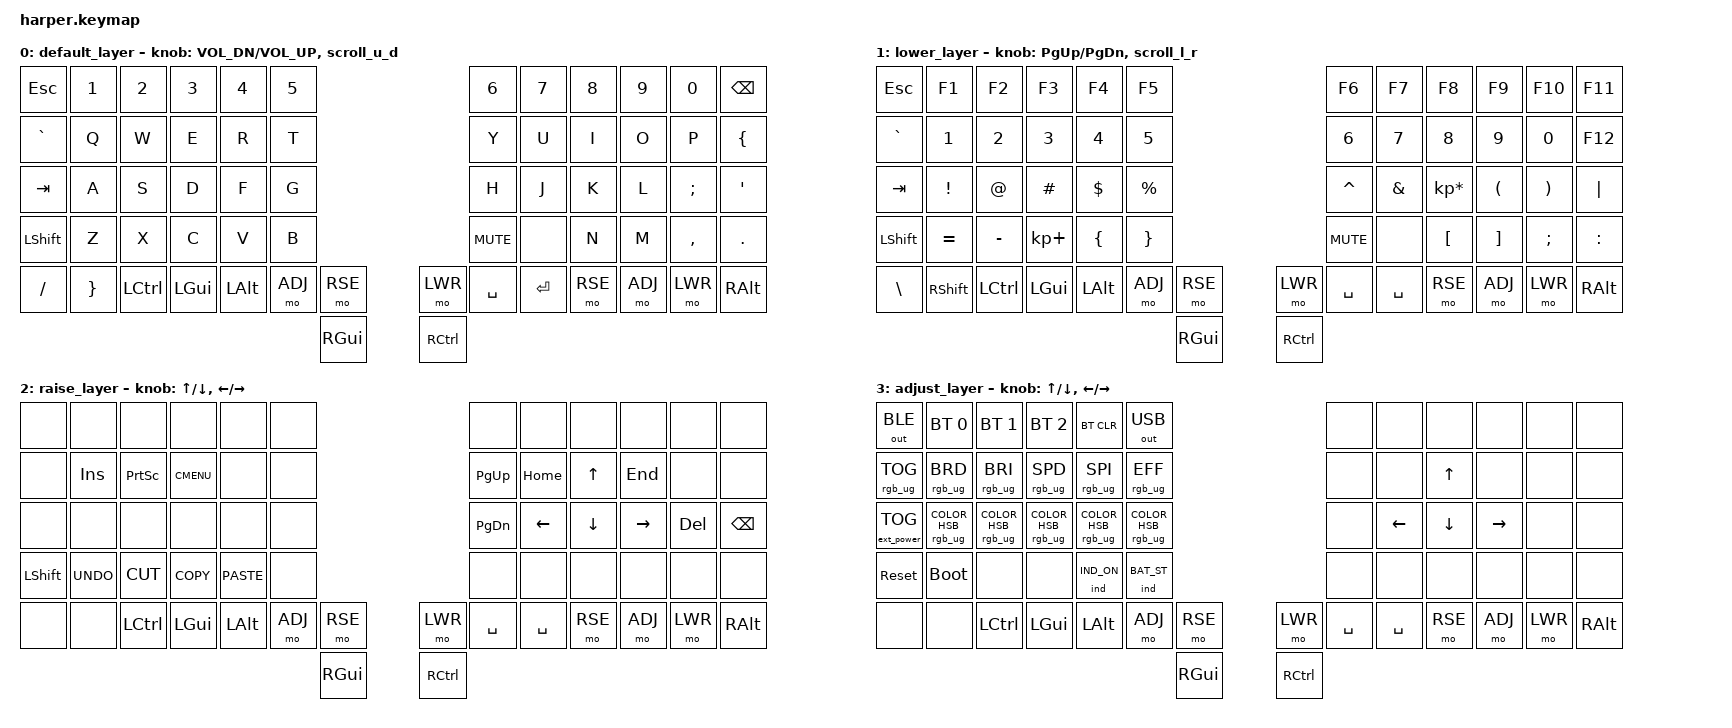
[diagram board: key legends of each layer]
#undef ZMK_BEHAVIORS_KEEP_ALL

#define ZMK_BEHAVIORS_KEEP_IND
#define ZMK_BEHAVIORS_KEEP_BT
#define ZMK_BEHAVIORS_KEEP_GRESC
#define ZMK_BEHAVIORS_KEEP_SYS_RESET
#define ZMK_BEHAVIORS_KEEP_BOOTLOADER
#define ZMK_BEHAVIORS_KEEP_CAPS_WORD
#define ZMK_BEHAVIORS_KEEP_KEY_REPEAT
#define ZMK_BEHAVIORS_KEEP_KT
#define ZMK_BEHAVIORS_KEEP_LT
#define ZMK_BEHAVIORS_KEEP_MT
#define ZMK_BEHAVIORS_KEEP_SK
#define ZMK_BEHAVIORS_KEEP_STICKY_LAYER

#define ZMK_BEHAVIORS_KEEP_TO
#define ZMK_BEHAVIORS_KEEP_TOG
#define ZMK_BEHAVIORS_KEEP_TRANS

#include <behaviors.dtsi>
#include <dt-bindings/zmk/keys.h>
#include <dt-bindings/zmk/bt.h>
#include <dt-bindings/zmk/ext_power.h>
#include <dt-bindings/zmk/rgb.h>
#include <dt-bindings/zmk/outputs.h>
#include <dt-bindings/zmk/indicators.h>
#include <dt-bindings/zmk/pointing.h>

#define DEF 0
#define LWR 1
#define RSE 2
#define ADJ 3

&lt { quick_tap_ms = <200>; };
&mt { quick_tap_ms = <200>; };

/ {
        keymap {
                compatible = "zmk,keymap";

                default_layer {
                        bindings = <
                                &kp ESC    &kp N1           &kp N2     &kp N3    &kp N4    &kp N5            &kp N6      &kp N7     &kp N8     &kp N9   &kp N0     &kp BACKSPACE
                                &kp GRAVE  &kp Q            &kp W      &kp E     &kp R     &kp T             &kp Y       &kp U      &kp I      &kp O    &kp P      &kp LEFT_BRACE
                                &kp TAB    &kp A            &kp S      &kp D     &kp F     &kp G             &kp H       &kp J      &kp K      &kp L    &kp SEMI   &kp SQT
                                &kp LSHFT  &kp Z            &kp X      &kp C     &kp V     &kp B             &kp C_MUTE  &none      &kp N      &kp M    &kp COMMA  &kp DOT
                                &kp FSLH   &kp RIGHT_BRACE  &kp LCTRL  &kp LGUI  &kp LALT  &mo ADJ  &mo RSE  &mo LWR     &kp SPACE  &kp ENTER  &mo RSE  &mo ADJ    &mo LWR         &kp RALT
                                                                                                        &kp RGUI                                                              &kp RCTRL
                        >;

                        sensor-bindings = <&inc_dec_kp C_VOL_DN C_VOL_UP &scroll_u_d>;
                };

                lower_layer {
                        bindings = <
                                &kp ESC    &kp F1     &kp F2     &kp F3       &kp F4    &kp F5              &kp F6      &kp F7     &kp F8           &kp F9    &kp F10   &kp F11
                                &kp GRAVE  &kp N1     &kp N2     &kp N3       &kp N4    &kp N5              &kp N6      &kp N7     &kp N8           &kp N9    &kp N0    &kp F12
                                &kp TAB    &kp EXCL   &kp AT     &kp HASH     &kp DLLR  &kp PRCNT           &kp CARET   &kp AMPS   &kp KP_MULTIPLY  &kp LPAR  &kp RPAR  &kp PIPE
                                &kp LSHFT  &kp EQUAL  &kp MINUS  &kp KP_PLUS  &kp LBRC  &kp RBRC            &kp C_MUTE  &none      &kp LBKT         &kp RBKT  &kp SEMI  &kp COLON
                                &kp BSLH   &kp RSHFT  &kp LCTRL  &kp LGUI     &kp LALT  &mo ADJ    &mo RSE  &mo LWR     &kp SPACE  &kp SPACE        &mo RSE   &mo ADJ   &mo LWR    &kp RALT
                                                                                                        &kp RGUI                                                               &kp RCTRL
                        >;

                        sensor-bindings = <&inc_dec_kp PG_UP PG_DN &scroll_l_r>;
                };

                raise_layer {
                        bindings = <
                                &none       &none       &none      &none        &none        &none             &none      &none      &none      &none      &none    &none
                                &none       &kp INS     &kp PSCRN  &kp K_CMENU  &none        &none             &kp PG_UP  &kp HOME   &kp UP     &kp END    &none    &none
                                &none       &none       &none      &none        &none        &none             &kp PG_DN  &kp LEFT   &kp DOWN   &kp RIGHT  &kp DEL  &kp BSPC
                                &kp LSHIFT  &kp K_UNDO  &kp K_CUT  &kp K_COPY   &kp K_PASTE  &none             &none      &none      &none      &none      &none    &none
                                &none       &none       &kp LCTRL  &kp LGUI     &kp LALT     &mo ADJ  &mo RSE  &mo LWR    &kp SPACE  &kp SPACE  &mo RSE    &mo ADJ  &mo LWR   &kp RALT
                                                                                                        &kp RGUI                                                       &kp RCTRL
                        >;

                        sensor-bindings = <&inc_dec_kp UP_ARROW DOWN_ARROW &inc_dec_kp LEFT_ARROW RIGHT_ARROW>;
                };
                adjust_layer {
                        bindings = <
                                &out OUT_BLE       &bt BT_SEL 0                     &bt BT_SEL 1                       &bt BT_SEL 2                      &bt BT_CLR                       &out OUT_USB                               &none     &none      &none      &none      &none    &none
                                &rgb_ug RGB_TOG    &rgb_ug RGB_BRD                  &rgb_ug RGB_BRI                    &rgb_ug RGB_SPD                   &rgb_ug RGB_SPI                  &rgb_ug RGB_EFF                            &none     &none      &kp UP     &none      &none    &none
                                &ext_power EP_TOG  &rgb_ug RGB_COLOR_HSB(0,100,50)  &rgb_ug RGB_COLOR_HSB(218,100,50)  &rgb_ug RGB_COLOR_HSB(120,97,50)  &rgb_ug RGB_COLOR_HSB(60,0,100)  &rgb_ug RGB_COLOR_HSB(64,100,52)           &none     &kp LEFT   &kp DOWN   &kp RIGHT  &none    &none
                                &sys_reset         &bootloader                      &none                              &none                             &ind IND_ON                      &ind BAT_ST                                &none     &none      &none      &none      &none    &none
                                &none              &none                            &kp LCTRL                          &kp LGUI                          &kp LALT                         &mo ADJ                           &mo RSE  &mo LWR   &kp SPACE  &kp SPACE  &mo RSE    &mo ADJ  &mo LWR  &kp RALT
                                                                                                                                                                                                                                &kp RGUI                                                     &kp RCTRL
                        >;

                        sensor-bindings = <&inc_dec_kp UP_ARROW DOWN_ARROW &inc_dec_kp LEFT_ARROW RIGHT_ARROW>;
                };

                extra1 {
                        status = "reserved";
                };

                extra2 {
                        status = "reserved";
                };

                extra3 {
                        status = "reserved";
                };

                extra4 {
                        status = "reserved";
                };
        };
};
